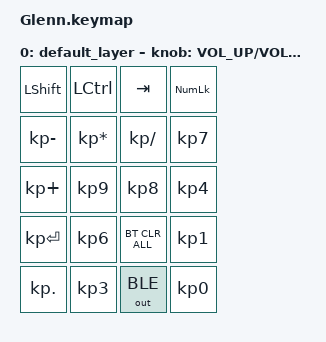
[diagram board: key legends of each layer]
#include <behaviors.dtsi>
#include <dt-bindings/zmk/keys.h>
#include <dt-bindings/zmk/bt.h>
#include <dt-bindings/zmk/outputs.h>

    &encoder_1 {
        status = "okay";
    };

/ {

    macros {
        cum: cum {
            compatible = "zmk,behavior-macro";
            #binding-cells = <0>;
            bindings
                = <&macro_press &kp LSHFT>
                , <&macro_tap &kp C &kp U &kp M>
                , <&macro_release &kp LSHFT>
                ;
        };
    };

    sensors: sensors {
        compatible = "zmk,keymap-sensors";
        sensors = <&encoder_1>;
        triggers-per-rotation = <20>;
    };

    combos {
        compatible = "zmk,combos";
        combo_clr {
            timeout-ms = <50>;
            key-positions = <0 3>;
            bindings = <&bt BT_CLR_ALL>;
        };
        combo_cum {
            timeout-ms = <50>;
            key-positions = <9 13>;
            bindings = <&cum>;
        };
    };
    
    keymap {
        compatible = "zmk,keymap";

        default_layer {
// --------------------------------------------------------------------------------------------------------------------------------------------------------------------
// |   ESC   |    Q    |    W    |    E    |    R    |    T    |                                          |    Y    |    U    |    I    |    O    |    P    |    \    |
// |   TAB   |    A    |    S    |    D    |    F    |    G    |                                          |    H    |    J    |    K    |    L    |    ;    |    '    |
// |  SHIFT  |    Z    |    X    |    C    |    V    |    B    | CTRL+A  | CTRL+C  |  |  CTRL+V |  CTRL+X |    N    |    M    |    ,    |    .    |    /    |  R CTRL |
//                               |   GUI   |   DEL   | RETURN  |  SPACE  | ESCAPE  |  |  RETURN |  SPACE  |   TAB   |   BSPC  |  R ALT  |
            bindings = <
    &kp LSHIFT    &kp LCTRL    &kp TAB    &kp KP_NUMLOCK
    &kp KP_MINUS    &kp KP_MULTIPLY    &kp KP_DIVIDE    &kp KP_N7
    &kp KP_PLUS    &kp KP_N9    &kp KP_N8    &kp KP_N4
    &kp KP_ENTER    &kp KP_N6    &bt BT_CLR_ALL    &kp KP_N1
    &kp KP_DOT    &kp KP_N3    &out OUT_BLE    &kp KP_N0
            >;

            sensor-bindings = <&inc_dec_kp C_VOL_UP C_VOL_DN>;
        };
    };
};
